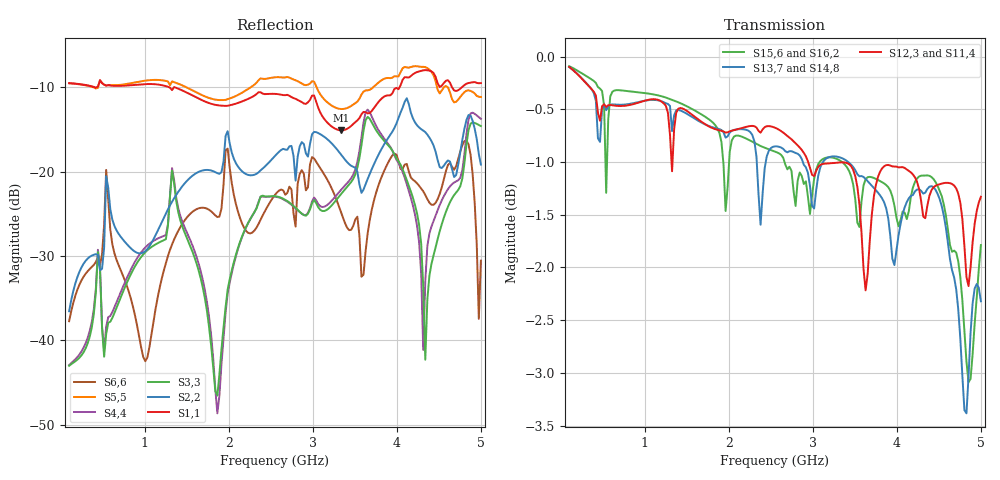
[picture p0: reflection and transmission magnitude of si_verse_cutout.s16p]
! Touchstone file exported from HFSS 3D Layout Design 2026.1.0
!  File:  D:/Data/SIVerse/2620R1/CouplingIdentification/si-verse_v1.1_cutout_FF.aedt
!  Generated:  01:31:52 PM Jan  6, 2026
!  Design:  main
!  Project:  si-verse_v1.1_cutout_FF
!  Setup:  Setup1
!  Solution:  Sweep1
# GHz S MA R 50.000000
! Terminal data exported
! Port[1] = U1_AG11
! Port[2] = U1_AH18
! Port[3] = U1_AH23
! Port[4] = U1_AH24
! Port[5] = U1_AJ11
! Port[6] = U1_AJ18
! Port[7] = U1_AU16
! Port[8] = U1_AU17
! Port[9] = U9_20
! Port[10] = U9_22
! Port[11] = X1_A11
! Port[12] = X1_A12
! Port[13] = X1_B5
! Port[14] = X1_B6
! Port[15] = X1_B14
! Port[16] = X1_B15
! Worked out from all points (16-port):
!   201 points, 100 MHz to 5 GHz, reference 50 ohm
!   strongest paths, dB at 100 MHz, 1.325 GHz, 2.55 GHz, 3.775 GHz, 5 GHz:
!     S12,3: -0.1, -1.1, -0.7, -1.1, -1.3
!     S11,4: -0.1, -1.1, -0.7, -1.2, -1.4
!     S13,7: -0.1, -0.7, -0.9, -1.3, -2.3
!     S14,8: -0.1, -0.3, -0.8, -1.3, -2.5
!     S15,6: -0.1, -0.4, -0.9, -1.2, -1.8
!     S16,2: -0.1, -0.4, -0.9, -1.2, -1.7
!   lowest |S11| = -15.1 dB at 3.334 GHz (marker M1), VSWR 1.43, Z = 38 - j9.88 ohm
!   |S11| at or under -10 dB: 1.29 GHz to 1.347 GHz (57.18 MHz wide, 4.34 % of centre); 1.358 GHz to 4.032 GHz (2.674 GHz wide, 99.2 % of centre); 4.657 GHz to 4.773 GHz (115.9 MHz wide, 2.46 % of centre)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
